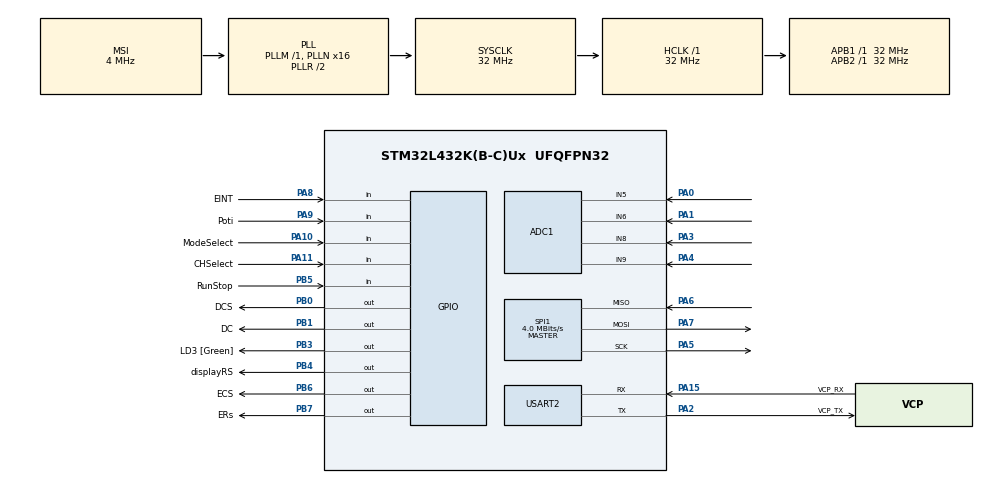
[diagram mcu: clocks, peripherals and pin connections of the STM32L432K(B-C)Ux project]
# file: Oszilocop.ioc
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ADC1.Channel-1\#ChannelRegularConversion=ADC_CHANNEL_5
ADC1.Channel-7\#ChannelRegularConversion=ADC_CHANNEL_5
ADC1.Channel-8\#ChannelRegularConversion=ADC_CHANNEL_5
ADC1.Channel-9\#ChannelRegularConversion=ADC_CHANNEL_5
ADC1.ContinuousConvMode=ENABLE
ADC1.DMAContinuousRequests=ENABLE
ADC1.EOCSelection=ADC_EOC_SEQ_CONV
ADC1.NbrOfConversion=4
ADC1.NbrOfConversionFlag=1
ADC1.OffsetNumber-1\#ChannelRegularConversion=ADC_OFFSET_NONE
ADC1.OffsetNumber-7\#ChannelRegularConversion=ADC_OFFSET_NONE
ADC1.OffsetNumber-8\#ChannelRegularConversion=ADC_OFFSET_NONE
ADC1.OffsetNumber-9\#ChannelRegularConversion=ADC_OFFSET_NONE
ADC1.Overrun=ADC_OVR_DATA_OVERWRITTEN
ADC1.Rank-1\#ChannelRegularConversion=1
ADC1.Rank-7\#ChannelRegularConversion=2
ADC1.Rank-8\#ChannelRegularConversion=3
ADC1.Rank-9\#ChannelRegularConversion=4
ADC1.SamplingTime-1\#ChannelRegularConversion=ADC_SAMPLETIME_2CYCLES_5
ADC1.SamplingTime-7\#ChannelRegularConversion=ADC_SAMPLETIME_2CYCLES_5
ADC1.SamplingTime-8\#ChannelRegularConversion=ADC_SAMPLETIME_2CYCLES_5
ADC1.SamplingTime-9\#ChannelRegularConversion=ADC_SAMPLETIME_2CYCLES_5
ADC1.master=1
Dma.ADC1.0.Direction=DMA_PERIPH_TO_MEMORY
Dma.ADC1.0.Instance=DMA1_Channel1
Dma.ADC1.0.MemDataAlignment=DMA_MDATAALIGN_HALFWORD
Dma.ADC1.0.MemInc=DMA_MINC_ENABLE
Dma.ADC1.0.Mode=DMA_CIRCULAR
Dma.ADC1.0.PeriphDataAlignment=DMA_PDATAALIGN_HALFWORD
Dma.ADC1.0.PeriphInc=DMA_PINC_DISABLE
Dma.ADC1.0.Priority=DMA_PRIORITY_HIGH
Dma.Request0=ADC1
Mcu.Family=STM32L4
Mcu.Name=STM32L432K(B-C)Ux
Mcu.Package=UFQFPN32
NVIC.DMA1_Channel1_IRQn=true\:0\:0\:false\:false\:true\:false\:true\:true
NVIC.PriorityGroup=NVIC_PRIORITYGROUP_4
PA0.Signal=ADCx_IN5
PA1.Signal=ADCx_IN6
PA10.GPIO_Label=ModeSelect
PA10.GPIO_PuPd=GPIO_PULLUP
PA10.Signal=GPIO_Input
PA11.GPIO_Label=CHSelect
PA11.GPIO_PuPd=GPIO_PULLUP
PA11.Signal=GPIO_Input
PA13\ (JTMS-SWDIO).GPIO_Label=SWDIO
PA13\ (JTMS-SWDIO).Mode=Serial_Wire
PA13\ (JTMS-SWDIO).Signal=SYS_JTMS-SWDIO
PA14\ (JTCK-SWCLK).GPIO_Label=SWCLK
PA14\ (JTCK-SWCLK).Mode=Serial_Wire
PA14\ (JTCK-SWCLK).Signal=SYS_JTCK-SWCLK
PA15\ (JTDI).GPIO_Label=VCP_RX
PA15\ (JTDI).Mode=Asynchronous
PA15\ (JTDI).Signal=USART2_RX
PA2.GPIO_Label=VCP_TX
PA2.Mode=Asynchronous
PA2.Signal=USART2_TX
PA3.Signal=ADCx_IN8
PA4.Signal=ADCx_IN9
PA5.Mode=Full_Duplex_Master
PA5.Signal=SPI1_SCK
PA6.Mode=Full_Duplex_Master
PA6.Signal=SPI1_MISO
PA7.Mode=Full_Duplex_Master
PA7.Signal=SPI1_MOSI
PA8.GPIO_Label=EINT
PA8.Signal=GPIO_Input
PA9.GPIO_Label=Poti
PA9.GPIO_PuPd=GPIO_PULLUP
PA9.Signal=GPIO_Input
PB0.GPIO_Label=DCS
PB0.GPIO_PuPd=GPIO_PULLUP
PB0.GPIO_Speed=GPIO_SPEED_FREQ_VERY_HIGH
PB0.Signal=GPIO_Output
PB1.GPIO_Label=DC
PB1.GPIO_PuPd=GPIO_PULLUP
PB1.GPIO_Speed=GPIO_SPEED_FREQ_VERY_HIGH
PB1.Signal=GPIO_Output
PB3\ (JTDO-TRACESWO).GPIO_Label=LD3 [Green]
PB3\ (JTDO-TRACESWO).Signal=GPIO_Output
PB4\ (NJTRST).GPIO_Label=displayRS
PB4\ (NJTRST).Signal=GPIO_Output
PB5.GPIO_Label=RunStop
PB5.GPIO_PuPd=GPIO_PULLUP
PB5.Signal=GPIO_Input
PB6.GPIO_Label=ECS
PB6.GPIO_PuPd=GPIO_PULLUP
PB6.GPIO_Speed=GPIO_SPEED_FREQ_VERY_HIGH
PB6.Signal=GPIO_Output
PB7.GPIO_Label=ERs
PB7.GPIO_PuPd=GPIO_PULLUP
PB7.GPIO_Speed=GPIO_SPEED_FREQ_VERY_HIGH
PB7.Signal=GPIO_Output
PC14-OSC32_IN\ (PC14).Mode=LSE-External-Oscillator
PC14-OSC32_IN\ (PC14).Signal=RCC_OSC32_IN
PC15-OSC32_OUT\ (PC15).Mode=LSE-External-Oscillator
PC15-OSC32_OUT\ (PC15).Signal=RCC_OSC32_OUT
ProjectManager.HeapSize=0x200
ProjectManager.StackSize=0x400
ProjectManager.TargetToolchain=STM32CubeIDE
RCC.ADCFreq_Value=32000000
RCC.AHBFreq_Value=32000000
RCC.APB1Freq_Value=32000000
RCC.APB1TimFreq_Value=32000000
RCC.APB2Freq_Value=32000000
RCC.APB2TimFreq_Value=32000000
RCC.CortexFreq_Value=32000000
RCC.HCLKFreq_Value=32000000
RCC.HSE_VALUE=8000000
RCC.HSI16_VALUE=16000000
RCC.HSI48_VALUE=48000000
RCC.HSI_VALUE=16000000
RCC.MSI_VALUE=4000000
RCC.PLLMUL=RCC_PLLMUL_4
RCC.PLLN=16
RCC.PLLSAI1N=16
RCC.SYSCLKFreq_VALUE=32000000
RCC.SYSCLKSource=RCC_SYSCLKSOURCE_PLLCLK
RCC.USBFreq_Value=32000000
RCC.VCOOutputFreq_Value=64000000
SH.ADCx_IN5.0=ADC1_IN5,IN5-Single-Ended
SH.ADCx_IN6.0=ADC1_IN6,IN6-Single-Ended
SH.ADCx_IN8.0=ADC1_IN8,IN8-Single-Ended
SH.ADCx_IN9.0=ADC1_IN9,IN9-Single-Ended
SPI1.BaudRatePrescaler=SPI_BAUDRATEPRESCALER_8
SPI1.CalculateBaudRate=4.0 MBits/s
SPI1.DataSize=SPI_DATASIZE_8BIT
SPI1.Direction=SPI_DIRECTION_2LINES
SPI1.Mode=SPI_MODE_MASTER
SPI1.VirtualType=VM_MASTER
USART2.VirtualMode-Asynchronous=VM_ASYNC
VP_TIM6_VS_ClockSourceINT.Mode=Enable_Timer
board=NUCLEO-L432KC

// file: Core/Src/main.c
/* USER CODE BEGIN Header */
/**
  ******************************************************************************
  * @file           : main.c
  * @brief          : Main program body
  ******************************************************************************
  * @attention
  *
  * Copyright (c) 2025 STMicroelectronics.
  * All rights reserved.
  *
  * This software is licensed under terms that can be found in the LICENSE file
  * in the root directory of this software component.
  * If no LICENSE file comes with this software, it is provided AS-IS.
  *
  ******************************************************************************
  */

/* USER CODE END Header */
#include "main.h"
#include "adc.h"
#include "dma.h"
#include "spi.h"
#include "tim.h"
#include "usart.h"
#include "gpio.h"

/* USER CODE BEGIN Includes */
#include "ili9341.h"
#include "fonts.h"
#include "adcAcq.h"
#include "scopeControl.h"

#include <stdio.h>
#include <string.h>
/* USER CODE END Includes */

void SystemClock_Config(void);

/* USER CODE BEGIN 0 */
extern SPI_HandleTypeDef hspi1;

// ---- Pins ----
#define CS_LOW()    HAL_GPIO_WritePin(GPIOB, GPIO_PIN_0, GPIO_PIN_RESET)
#define CS_HIGH()   HAL_GPIO_WritePin(GPIOB, GPIO_PIN_0, GPIO_PIN_SET)

#define DC_LOW()    HAL_GPIO_WritePin(GPIOB, GPIO_PIN_1, GPIO_PIN_RESET)
#define DC_HIGH()   HAL_GPIO_WritePin(GPIOB, GPIO_PIN_1, GPIO_PIN_SET)

#define RST_LOW()   HAL_GPIO_WritePin(GPIOB, GPIO_PIN_4, GPIO_PIN_RESET)
#define RST_HIGH()  HAL_GPIO_WritePin(GPIOB, GPIO_PIN_4, GPIO_PIN_SET)

// ---- Command ----
void ILI_cmd(uint8_t cmd)
{
    CS_LOW();
    DC_LOW();
    HAL_SPI_Transmit(&hspi1, &cmd, 1, HAL_MAX_DELAY);
    CS_HIGH();
}

// ---- Data ----
void ILI_data(uint8_t data)
{
    CS_LOW();
    DC_HIGH();
    HAL_SPI_Transmit(&hspi1, &data, 1, HAL_MAX_DELAY);
    CS_HIGH();
}

// ---- 16-Bit Color ----
void ILI_data16(uint16_t data)
{
    uint8_t buf[2] = { data >> 8, data & 0xFF };
    CS_LOW();
    DC_HIGH();
    HAL_SPI_Transmit(&hspi1, buf, 2, HAL_MAX_DELAY);
    CS_HIGH();
}

// ---- Reset + Init ----
void ILI_reset()
{
    RST_LOW();
    HAL_Delay(20);
    RST_HIGH();
    HAL_Delay(20);
}

void ILI_init()
{
    ILI_reset();

    ILI_cmd(0x01);  // Software reset
    HAL_Delay(5);

    ILI_cmd(0x28);  // Display OFF

    ILI_cmd(0x3A);  // Pixel Format
    ILI_data(0x55); // 16-bit

    ILI_cmd(0x36);  // Memory Access Control
    ILI_data(0x48); // BGR, row/col order

    ILI_cmd(0x11);  // Sleep out
    HAL_Delay(120);

    ILI_cmd(0x29);  // Display ON
}

// ---- Set window ----
void ILI_set_window(uint16_t x1, uint16_t y1, uint16_t x2, uint16_t y2)
{
    ILI_cmd(0x2A);
    ILI_data(x1 >> 8); ILI_data(x1 & 0xFF);
    ILI_data(x2 >> 8); ILI_data(x2 & 0xFF);

    ILI_cmd(0x2B);
    ILI_data(y1 >> 8); ILI_data(y1 & 0xFF);
    ILI_data(y2 >> 8); ILI_data(y2 & 0xFF);

    ILI_cmd(0x2C);
}

/* USER CODE END 0 */

int main(void)
{

  /* MCU Configuration--------------------------------------------------------*/

  /* Reset of all peripherals, Initializes the Flash interface and the Systick. */
  HAL_Init();

  /* Configure the system clock */
  SystemClock_Config();

  /* Initialize all configured peripherals */
  MX_GPIO_Init();
  MX_DMA_Init();
  MX_USART2_UART_Init();
  MX_ADC1_Init();
  MX_SPI1_Init();
  MX_TIM6_Init();
  /* USER CODE BEGIN 2 */
//  ILI9341TypeDef display = {
//      .spi = &hspi1,
//      .cs_gpio_port = ILI9341_CS_GPIO_PORT,
//      .dc_gpio_port = ILI9341_DC_GPIO_PORT,
//      .reset_gpio_port = ILI9341_RESET_GPIO_PORT,
//      .cs_pin = ILI9341_CS_PIN,
//      .dc_pin = ILI9341_DC_PIN,
//      .reset_pin = ILI9341_RESET_PIN,
//      .width = ILI9341_WIDTH,
//      .height = ILI9341_HEIGHT,
//      .orientation = ILI9341_ORIENTATION_DEFAULT
//  };
//
//  ILI9341_Init(&display);
//  ILI9341_FillScreen(&display, ILI9341_BLACK);
//  ILI9341_WriteString(&display, 10, 10, "Display OK!", Font_11x18, ILI9341_WHITE, ILI9341_BLACK);
//
//  // optional: Display oder UART init, falls du debuggen willst
//  adcAcqInit();
//
//  char msg[100];
//
//  if (adcAcqStart() != HAL_OK) {
//     Error_Handler();
//  }
  // Display initialisieren
  ILI_init();

  // komplettes Fenster setzen
  ILI_set_window(0, 0, 239, 319);

  // ROT in RGB565
  uint16_t red = 0xF800;

  // gesamten Bildschirm rot füllen
  for(uint32_t i = 0; i < 240UL * 320UL; i++)
  {
      ILI_data16(red);
  }

  /* USER CODE END 2 */

  /* Infinite loop */
  while (1)
  {

    /* USER CODE BEGIN 3 */
//	  adc_update_all();
//
//	          for (int ch = 0; ch < 4; ch++)
//	          {
//	              uint16_t raw = adc_get_raw(ch);
//	              float v_pin  = adc_get_voltage(ch);
//	              float v_real = adc_get_real_voltage(ch);
//
//	              snprintf(msg, sizeof(msg),
//	                  "CH%d  RAW=%u  Vin=%.3fV  Real=%.2fV\r\n",
//	                  ch, raw, v_pin, v_real);
//
//	              HAL_UART_Transmit(&huart2, (uint8_t*)msg, strlen(msg), HAL_MAX_DELAY);
//	          }
//
//	          HAL_Delay(500);
  }
  /* USER CODE END 3 */
}

void SystemClock_Config(void)
{
  RCC_OscInitTypeDef RCC_OscInitStruct = {0};
  RCC_ClkInitTypeDef RCC_ClkInitStruct = {0};

  /** Configure the main internal regulator output voltage
  */
  if (HAL_PWREx_ControlVoltageScaling(PWR_REGULATOR_VOLTAGE_SCALE1) != HAL_OK)
  {
    Error_Handler();
  }

  /** Configure LSE Drive Capability
  */
  HAL_PWR_EnableBkUpAccess();
  __HAL_RCC_LSEDRIVE_CONFIG(RCC_LSEDRIVE_LOW);

  /** Initializes the RCC Oscillators according to the specified parameters
  * in the RCC_OscInitTypeDef structure.
  */
  RCC_OscInitStruct.OscillatorType = RCC_OSCILLATORTYPE_LSE|RCC_OSCILLATORTYPE_MSI;
  RCC_OscInitStruct.LSEState = RCC_LSE_ON;
  RCC_OscInitStruct.MSIState = RCC_MSI_ON;
  RCC_OscInitStruct.MSICalibrationValue = 0;
  RCC_OscInitStruct.MSIClockRange = RCC_MSIRANGE_6;
  RCC_OscInitStruct.PLL.PLLState = RCC_PLL_ON;
  RCC_OscInitStruct.PLL.PLLSource = RCC_PLLSOURCE_MSI;
  RCC_OscInitStruct.PLL.PLLM = 1;
  RCC_OscInitStruct.PLL.PLLN = 16;
  RCC_OscInitStruct.PLL.PLLP = RCC_PLLP_DIV7;
  RCC_OscInitStruct.PLL.PLLQ = RCC_PLLQ_DIV2;
  RCC_OscInitStruct.PLL.PLLR = RCC_PLLR_DIV2;
  if (HAL_RCC_OscConfig(&RCC_OscInitStruct) != HAL_OK)
  {
    Error_Handler();
  }

  /** Initializes the CPU, AHB and APB buses clocks
  */
  RCC_ClkInitStruct.ClockType = RCC_CLOCKTYPE_HCLK|RCC_CLOCKTYPE_SYSCLK
                              |RCC_CLOCKTYPE_PCLK1|RCC_CLOCKTYPE_PCLK2;
  RCC_ClkInitStruct.SYSCLKSource = RCC_SYSCLKSOURCE_PLLCLK;
  RCC_ClkInitStruct.AHBCLKDivider = RCC_SYSCLK_DIV1;
  RCC_ClkInitStruct.APB1CLKDivider = RCC_HCLK_DIV1;
  RCC_ClkInitStruct.APB2CLKDivider = RCC_HCLK_DIV1;

  if (HAL_RCC_ClockConfig(&RCC_ClkInitStruct, FLASH_LATENCY_1) != HAL_OK)
  {
    Error_Handler();
  }

  /** Enable MSI Auto calibration
  */
  HAL_RCCEx_EnableMSIPLLMode();
}

void Error_Handler(void)
{
  /* USER CODE BEGIN Error_Handler_Debug */
  /* User can add his own implementation to report the HAL error return state */
  __disable_irq();
  while (1)
  {
	    ScopeUpdateLogic();   // <-- Steuerlogik ausführen
	    HAL_Delay(50);        // kleine Entprellpause
  }
  /* USER CODE END Error_Handler_Debug */
}
